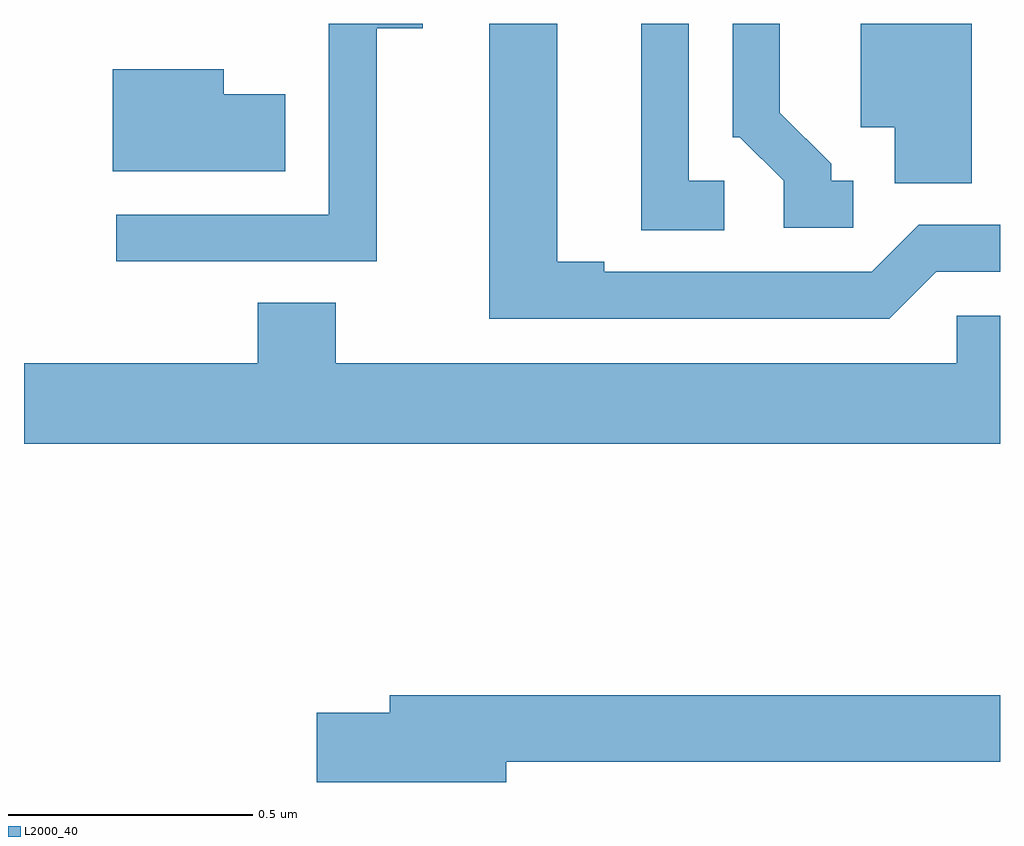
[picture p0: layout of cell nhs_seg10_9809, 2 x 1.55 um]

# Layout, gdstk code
import gdstk
lib = gdstk.Library(unit=1e-6, precision=1e-09)
def P(c, l, *ps):  # polygons
    for p in ps: c.add(gdstk.Polygon(p, *l))
L2000_40 = (2000, 40)

nhs_seg10_9809 = lib.new_cell('nhs_seg10_9809')
P(nhs_seg10_9809, L2000_40, [(235.942,1310.5),(235.715,1310.5),(235.715,1310.288),(235.784,1310.288),(235.784,1310.173),(235.942,1310.173)],
  [(235.869,1309.992),(236,1309.992),(236,1310.088),(235.833,1310.088),(235.737,1309.992),(235.189,1309.992),(235.189,1310.012),(235.093,1310.012),(235.093,1310.5),(234.953,1310.5),(234.953,1309.896),(235.773,1309.896)],
  [(234.723,1310.491),(234.817,1310.491),(234.817,1310.5),(234.624,1310.5),(234.624,1310.109),(234.189,1310.109),(234.189,1310.013),(234.723,1310.013)],
  [(235.435,1310.178),(235.362,1310.178),(235.362,1310.5),(235.265,1310.5),(235.265,1310.077),(235.435,1310.077)],
  [(235.699,1310.178),(235.654,1310.178),(235.654,1310.213),(235.549,1310.318),(235.549,1310.5),(235.452,1310.5),(235.452,1310.268),(235.467,1310.268),(235.557,1310.178),(235.557,1310.082),(235.699,1310.082)],
  [(234.535,1310.356),(234.409,1310.356),(234.409,1310.407),(234.182,1310.407),(234.182,1310.198),(234.535,1310.198)],
  [(236,1309.902),(235.911,1309.902),(235.911,1309.804),(234.639,1309.804),(234.639,1309.928),(234.479,1309.928),(234.479,1309.804),(234,1309.804),(234,1309.64),(236,1309.64)],
  [(234.988,1308.988),(236,1308.988),(236,1309.124),(234.749,1309.124),(234.749,1309.088),(234.6,1309.088),(234.6,1308.946),(234.988,1308.946)])

lib.write_gds('nhs_seg10_9809.gds')
